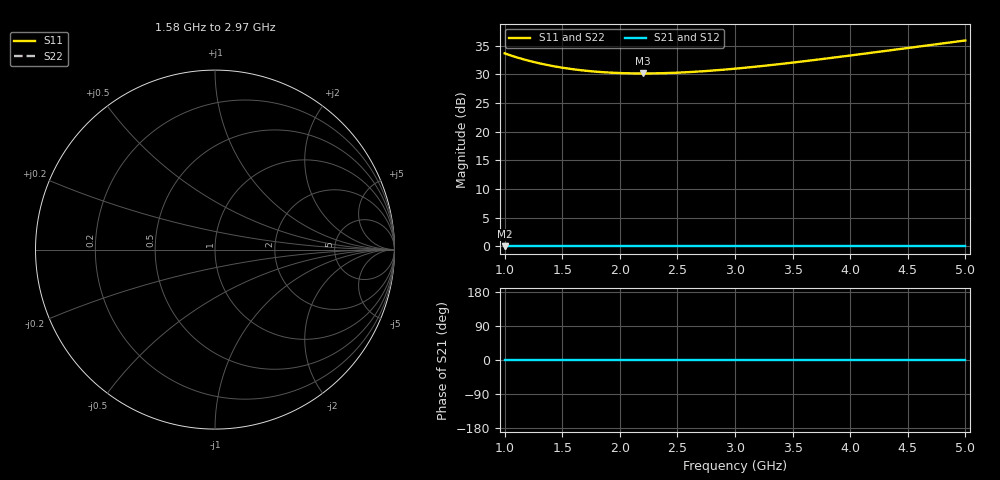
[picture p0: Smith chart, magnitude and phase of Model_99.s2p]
# GHZ S RI R 50
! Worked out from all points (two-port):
!   401 points, 1 GHz to 5 GHz, reference 50 ohm
!   highest |S21| = 0.00 dB at 1 GHz (marker M1); lowest = 0.0 dB at 1 GHz (marker M2)
!   |S21| within 3 dB of the highest: start of sweep to end of sweep
!   lowest |S11| = 30.1 dB at 2.2 GHz (marker M3)
!   |S11| at or under -10 dB: nowhere
!   |S22| runs from 30.1 to 35.9 dB; largest |S21 - S12| = 0
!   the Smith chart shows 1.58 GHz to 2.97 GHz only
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1  48.16 0  1 0  1 0  48.16 0
1.15  43.11 0  1 0  1 0  43.11 0
1.22  41.26 0  1 0  1 0  41.26 0
1.3  39.47 0  1 0  1 0  39.47 0
1.38  37.96 0  1 0  1 0  37.96 0
1.47  36.54 0  1 0  1 0  36.54 0
1.57  35.27 0  1 0  1 0  35.27 0
1.67  34.26 0  1 0  1 0  34.26 0
1.79  33.36 0  1 0  1 0  33.36 0
1.92  32.69 0  1 0  1 0  32.69 0
2.06  32.29 0  1 0  1 0  32.29 0
2.2  32.16 0  1 0  1 0  32.16 0
2.34  32.27 0  1 0  1 0  32.27 0
2.5  32.67 0  1 0  1 0  32.67 0
2.66  33.31 0  1 0  1 0  33.31 0
3  35.4 0  1 0  1 0  35.4 0
3.33  38.24 0  1 0  1 0  38.24 0
3.67  41.91 0  1 0  1 0  41.91 0
4  46.13 0  1 0  1 0  46.13 0
4.34  51.1 0  1 0  1 0  51.1 0
4.63  55.81 0  1 0  1 0  55.81 0
5  62.43 0  1 0  1 0  62.43 0
